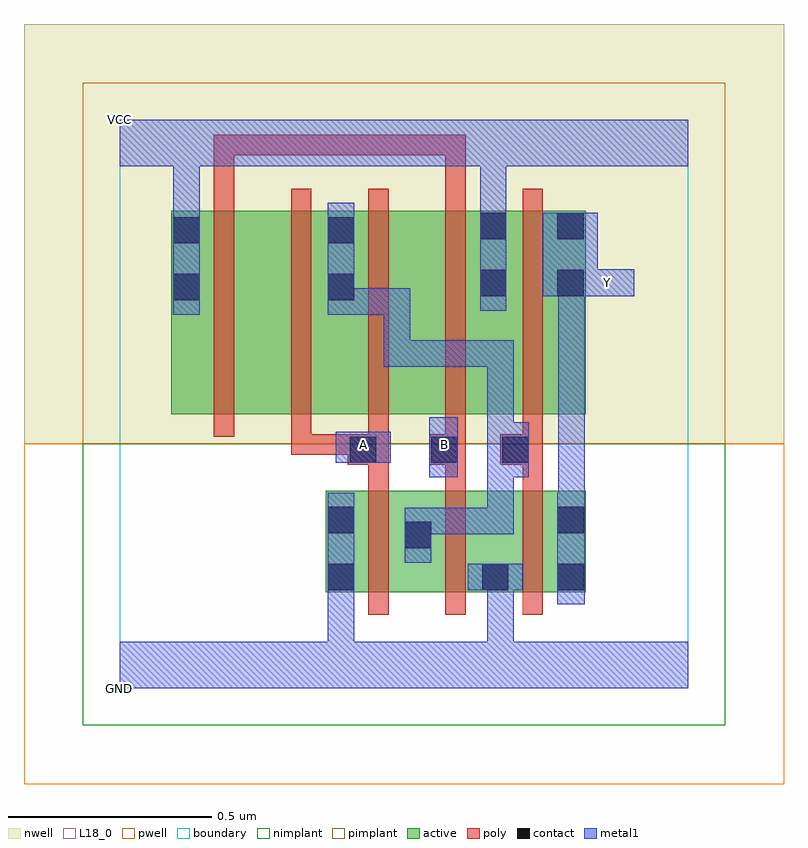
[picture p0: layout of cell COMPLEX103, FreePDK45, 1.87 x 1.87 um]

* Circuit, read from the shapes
.subckt COMPLEX103 A B GND VCC Y
M1 n1 A GND VSUBS nfet w=0.25u l=0.05u
M2 GND B n1 VSUBS nfet w=0.25u l=0.05u
M3 Y n1 GND VSUBS nfet w=0.25u l=0.05u
M4 n2 B VCC n3 pfet w=0.5u l=0.05u
M5 n1 A n2 n3 pfet w=0.5u l=0.05u
M6 n4 A n1 n3 pfet w=0.5u l=0.05u
M7 VCC B n4 n3 pfet w=0.5u l=0.05u
M8 Y n1 VCC n3 pfet w=0.5u l=0.05u
.ends

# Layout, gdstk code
import gdstk
lib = gdstk.Library(unit=1e-6, precision=1e-09)
def R(c, l, rs):  # rectangles x0, y0, x1, y1
    for r in rs: c.add(gdstk.rectangle(r[:2], r[2:], *l))
def A(c, l, x, y, w, h, nx, ny, dx, dy):  # array of equal rectangles
    R(c, l, [(x+i*dx, y+j*dy, x+i*dx+w, y+j*dy+h) for i in range(nx) for j in range(ny)])
active = (1, 0)
pwell = (2, 0)
nwell = (3, 0)
nimplant = (4, 0)
pimplant = (5, 0)
poly = (9, 0)
contact = (10, 0)
metal1 = (11, 0)
L18_0 = (18, 0)
boundary = (235, 0)

complex103 = lib.new_cell('COMPLEX103')
R(complex103, active, [(0.507,0.237,0.582,0.487), (0.507,0.237,0.772,0.487), (0.697,0.237,0.772,0.487), (0.697,0.237,0.962,0.487), (0.887,0.237,1.147,0.487), (0.887,0.237,0.962,0.342), (1.072,0.237,1.147,0.487), (0.127,0.675,0.352,1.175), (0.127,0.675,0.202,1.165), (0.352,0.675,0.582,1.175), (0.507,0.675,0.732,1.175), (0.507,0.675,0.582,1.165), (0.732,0.675,0.957,1.175), (0.882,0.675,0.957,1.175), (0.882,0.675,1.147,1.175), (1.072,0.675,1.147,1.175)])
R(complex103, pwell, [(-0.235,-0.235,1.635,0.602)])
R(complex103, nwell, [(-0.235,0.602,1.635,1.635)])
R(complex103, nimplant, [(-0.09,-0.09,1.49,0.602)])
R(complex103, pimplant, [(-0.09,0.602,1.49,1.49)])
A(complex103, poly, 0.612, 0.182, 0.05, 0.36, 3, 1, 0.19, 0)
A(complex103, poly, 0.612, 0.492, 0.05, 0.108, 3, 1, 0.19, 0)
A(complex103, poly, 0.422, 0.575, 0.05, 0.095, 4, 1, 0.19, 0)
A(complex103, poly, 0.232, 0.62, 0.05, 0.61, 5, 1, 0.19, 0)
R(complex103, poly, [(0.562,0.55,0.662,0.625), (0.762,0.55,0.852,0.625), (0.937,0.55,1.042,0.625), (0.422,0.575,0.472,0.625), (0.422,0.575,0.612,0.625), (0.562,0.575,0.612,0.625), (0.562,0.575,0.612,0.625), (0.232,1.18,0.282,1.362), (0.802,1.18,0.852,1.362), (0.232,1.312,0.282,1.362), (0.232,1.312,0.282,1.362), (0.232,1.312,0.282,1.362), (0.232,1.312,0.48,1.362), (0.43,1.312,0.48,1.362), (0.43,1.312,0.68,1.362), (0.63,1.312,0.68,1.362), (0.63,1.312,0.68,1.362), (0.63,1.312,0.68,1.362), (0.63,1.312,0.852,1.362), (0.802,1.312,0.852,1.362), (0.802,1.312,0.852,1.362), (0.802,1.312,0.852,1.362)])
R(complex103, contact, [(0.512,0.242,0.577,0.307), (0.892,0.242,0.957,0.307), (1.077,0.242,1.142,0.307), (0.702,0.345,0.767,0.41), (0.512,0.382,0.577,0.447), (1.077,0.382,1.142,0.447), (0.567,0.555,0.632,0.62), (0.767,0.555,0.832,0.62), (0.942,0.555,1.007,0.62), (0.132,0.955,0.197,1.02), (0.512,0.955,0.577,1.02), (0.887,0.965,0.952,1.03), (1.077,0.965,1.142,1.03), (0.132,1.095,0.197,1.16), (0.512,1.095,0.577,1.16), (0.887,1.105,0.952,1.17), (1.077,1.105,1.142,1.17)])
R(complex103, metal1, [(0,0,1.4,0.115), (0.512,0.05,0.577,0.115), (0.512,0.05,0.577,0.115), (0.512,0.05,0.577,0.115), (0.512,0.05,0.577,0.115), (0.512,0.05,0.577,0.272), (0.905,0.05,0.97,0.115), (0.905,0.05,0.97,0.115), (0.905,0.05,0.97,0.115), (0.905,0.05,0.97,0.115), (0.905,0.05,0.97,0.307), (0.512,0.207,0.577,0.482), (1.077,0.207,1.145,0.482), (0.857,0.242,0.992,0.307), (0.702,0.31,0.767,0.445), (0.702,0.38,0.767,0.445), (0.702,0.38,0.767,0.445), (0.702,0.38,0.97,0.445), (0.905,0.38,0.97,0.445), (0.905,0.38,0.97,0.655), (1.08,0.417,1.145,1.03), (0.762,0.52,0.832,0.667), (0.942,0.52,1.007,0.655), (0.532,0.555,0.667,0.632), (0.905,0.59,0.97,0.655), (0.905,0.59,1.007,0.655), (0.905,0.59,0.97,0.857), (0.65,0.792,0.97,0.857), (0.65,0.792,0.715,0.985), (0.905,0.792,0.97,0.857), (0.132,0.92,0.197,1.195), (0.512,0.92,0.577,0.985), (0.512,0.92,0.577,0.985), (0.512,0.92,0.577,1.195), (0.512,0.92,0.715,0.985), (0.65,0.92,0.715,0.985), (0.65,0.92,0.715,0.985), (0.887,0.93,0.952,1.205), (1.042,0.965,1.177,1.17), (1.08,0.965,1.267,1.032), (1.08,0.967,1.145,1.032), (0.132,1.13,0.197,1.35), (0.887,1.14,0.952,1.35), (0,1.285,1.4,1.4), (0.132,1.285,0.197,1.35), (0.132,1.285,0.197,1.35), (0.887,1.285,0.952,1.35), (0.887,1.285,0.952,1.35)])
R(complex103, L18_0, [(0,0,1.4,0.115), (0.512,0.05,0.577,0.115), (0.512,0.05,0.577,0.115), (0.512,0.05,0.577,0.115), (0.512,0.05,0.577,0.115), (0.512,0.05,0.577,0.272), (0.905,0.05,0.97,0.115), (0.905,0.05,0.97,0.115), (0.905,0.05,0.97,0.115), (0.905,0.05,0.97,0.115), (0.905,0.05,0.97,0.307), (0.512,0.207,0.577,0.482), (1.077,0.207,1.145,0.482), (0.857,0.242,0.992,0.307), (1.08,0.417,1.145,1.03), (0.762,0.52,0.832,0.667), (0.532,0.555,0.667,0.632), (0.567,0.567,0.632,0.632), (0.767,0.567,0.832,0.632), (0.132,0.92,0.197,1.195), (0.887,0.93,0.952,1.205), (1.042,0.965,1.177,1.17), (1.08,0.965,1.267,1.032), (1.08,0.967,1.145,1.032), (1.167,0.967,1.232,1.032), (0.132,1.13,0.197,1.35), (0.887,1.14,0.952,1.35), (0,1.285,1.4,1.4), (0.132,1.285,0.197,1.35), (0.132,1.285,0.197,1.35), (0.887,1.285,0.952,1.35), (0.887,1.285,0.952,1.35)])
R(complex103, boundary, [(0,0,1.4,1.4)])
complex103.add(gdstk.Label('A', (0.6,0.6), layer=11, texttype=0))
complex103.add(gdstk.Label('B', (0.8,0.6), layer=11, texttype=0))
complex103.add(gdstk.Label('Y', (1.2,1), layer=11, texttype=0))
complex103.add(gdstk.Label('VCC', (0,1.4), layer=11, texttype=0))
complex103.add(gdstk.Label('GND', (0,0), layer=11, texttype=0))

lib.write_gds('COMPLEX103.gds')
